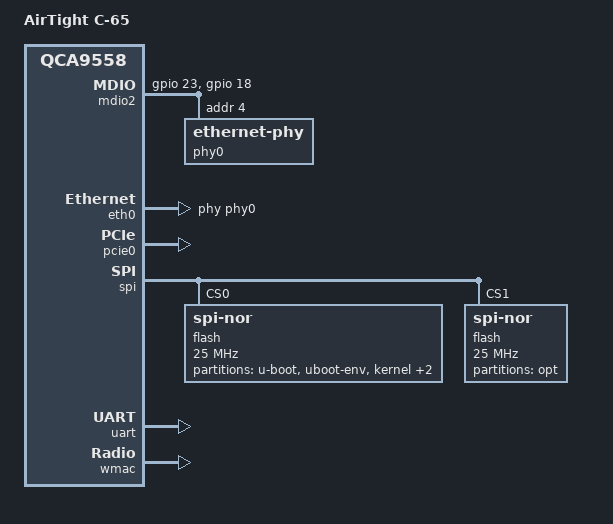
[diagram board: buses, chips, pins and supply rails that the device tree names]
// SPDX-License-Identifier: GPL-2.0-or-later OR MIT
/dts-v1/;

#include <dt-bindings/gpio/gpio.h>
#include <dt-bindings/input/input.h>

#include "qca9557.dtsi"

/ {
	model = "AirTight C-65";
	compatible = "airtight,c-65", "qca,qca9558";

	aliases {
		mdio-gpio0 = &mdio2;
	};

	chosen {
		bootargs = "console=ttyS0,115200n8";
	};

	mdio2: mdio {
		compatible = "virtual,mdio-gpio";

		#address-cells = <1>;
		#size-cells = <0>;

		gpios = <&gpio 23 GPIO_ACTIVE_HIGH>,
			<&gpio 18 GPIO_ACTIVE_HIGH>;

		phy0: ethernet-phy@4 {
			reg = <4>;

			phy-mode = "rgmii-rxid";
			at803x-disable-smarteee;
		};
	};
};

&eth0 {
	status = "okay";

	mtd-mac-address = <&rootfs 0x10008>;
	pll-data = <0x9e000000 0x80000101 0x80001313>;
	phy-handle = <&phy0>;

	gmac-config {
		device = <&gmac>;

		rxdv-delay = <2>;
		rxd-delay = <2>;
		txen-delay = <0>;
		txd-delay = <0>;
		rgmii-enabled = <1>;
	};
};

&pcie0 {
	status = "okay";
};

&spi {
	status = "okay";

	num-cs = <2>;

	flash@0 {
		compatible = "jedec,spi-nor";
		reg = <0>;
		spi-max-frequency = <25000000>;

		partitions {
			compatible = "fixed-partitions";
			#address-cells = <1>;
			#size-cells = <1>;

			partition@0 {
				label = "u-boot";
				reg = <0x000000 0x040000>;
				read-only;
			};

			partition@40000 {
				label = "uboot-env";
				reg = <0x040000 0x020000>;
			};

			partition@60000 {
				label = "kernel";
				reg = <0x060000 0x200000>;
			};
			partition@260000 {
				label = "rootfs";
				reg = <0x260000 0xd90000>;
				read-only;
			};

			art: partition@ff0000 {
				label = "art";
				reg = <0xff0000 0x010000>;
				read-only;
			};
		};
	};
	
	flash@1 {
		compatible = "jedec,spi-nor";
		reg = <1>;
		spi-max-frequency = <25000000>;

		partitions {
			compatible = "fixed-partitions";
			#address-cells = <1>;
			#size-cells = <1>;

			partition@1000000 {
				label = "opt";
				reg = <0x010000 0x020000>;
				read-only;
			};
		};
	};
};

&uart {
	status = "okay";
};

&wmac {
	status = "okay";

	mtd-cal-data = <&art 0x1000>;
	mtd-mac-address = <&rootfs 0x10008>;
};
